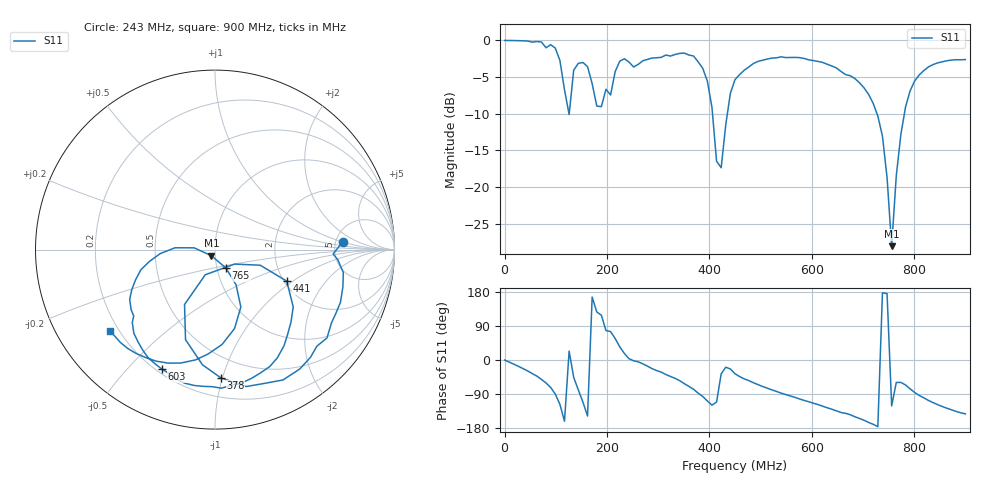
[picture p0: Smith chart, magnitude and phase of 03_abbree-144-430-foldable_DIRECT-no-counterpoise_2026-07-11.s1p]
! Antenna S11 sweep  |  ABBREE 18.8in foldable, rated VHF/UHF 144/430MHz, SMA-female. Tested DIRECT to VNA, NO counterpoise. UHF resonance real at 419MHz (VSWR 1.23) near rated 430. VHF match collapsed (no counterpoise) - in the cabled run the 25ft KMR240 braid acted as VHF counterpoise, restoring 1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
! Device: NanoVNA-H fw1.2.44  |  cal 50kHz-900MHz  |  101 points
# Hz S RI R 50
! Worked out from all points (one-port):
!   101 points, 50 kHz to 900 MHz, reference 50 ohm
!   lowest |S11| = -28.0 dB at 756 MHz (marker M1), VSWR 1.08, Z = 47.9 - j3.25 ohm
!   |S11| at or under -10 dB: 125.781 MHz to 126.1883 MHz (407.3 kHz wide, 0.323 % of centre); 406.1 MHz to 435.1 MHz (29.03 MHz wide, 6.9 % of centre); 727.4 MHz to 780.8 MHz (53.46 MHz wide, 7.09 % of centre)
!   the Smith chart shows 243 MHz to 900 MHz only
!   S11 on the Smith chart (normalised r, x): 243 MHz: 5.76, +0.99; 378 MHz: 0.34, -0.99; 441 MHz: 2.07, -0.90; 603 MHz: 0.22, -0.63; 765 MHz: 1.10, -0.23; 900 MHz: 0.17, -0.33
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50000  0.9991 -0.00173
6.30465e7  0.7245 -0.6634
9.0045e7  0.2808 -0.8919
1.08044e8  -0.3326 -0.6503
1.170435e8  -0.4366 -0.1449
1.26043e8  0.2869 0.1244
1.350425e8  0.4343 -0.4525
1.530415e8  -0.2555 -0.6593
1.62041e8  -0.5613 -0.3518
1.8004e8  -0.2139 0.2858
2.250375e8  0.595 0.4089
2.430365e8  0.7104 0.0423
3.42031e8  0.4723 -0.6653
3.78029e8  0.0317 -0.714
4.050275e8  -0.1697 -0.306
4.230265e8  0.1091 -0.0807
4.410255e8  0.3999 -0.1758
4.50025e8  0.4358 -0.3197
5.670185e8  -0.1139 -0.7573
6.030165e8  -0.2971 -0.6653
6.750125e8  -0.4673 -0.335
7.290095e8  -0.3042 -0.0218
7.470085e8  -0.1159 0.00983
7.56008e8  -0.0205 -0.0339
7.650075e8  0.061 -0.1026
7.92006e8  0.1088 -0.4399
8.28004e8  -0.1913 -0.6321
9e8  -0.5852 -0.4542
